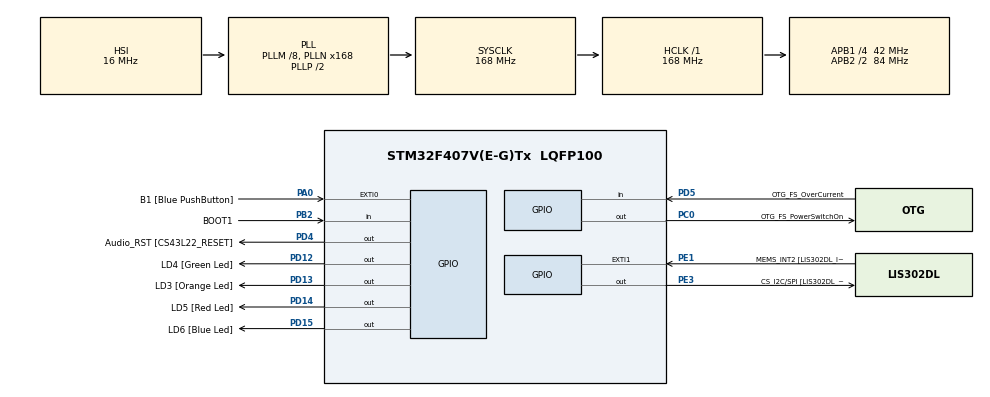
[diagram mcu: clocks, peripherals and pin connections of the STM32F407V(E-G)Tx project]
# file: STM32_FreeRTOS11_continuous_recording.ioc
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Mcu.Family=STM32F4
Mcu.Name=STM32F407V(E-G)Tx
Mcu.Package=LQFP100
NVIC.EXTI0_IRQn=true\:6\:0\:true\:false\:true\:true\:true\:true
NVIC.PriorityGroup=NVIC_PRIORITYGROUP_4
NVIC.TIM6_DAC_IRQn=true\:0\:0\:true\:false\:true\:false\:true\:true
NVIC.TimeBase=TIM6_DAC_IRQn
NVIC.TimeBaseIP=TIM6
PA0-WKUP.GPIO_Label=B1 [Blue PushButton]
PA0-WKUP.Signal=GPXTI0
PA10.GPIO_Label=OTG_FS_ID
PA10.GPIO_Mode=GPIO_MODE_AF_PP
PA10.GPIO_PuPd=GPIO_NOPULL
PA10.GPIO_Speed=GPIO_SPEED_FREQ_LOW
PA10.Signal=USB_OTG_FS_ID
PA11.GPIO_Label=OTG_FS_DM
PA11.GPIO_Mode=GPIO_MODE_AF_PP
PA11.GPIO_PuPd=GPIO_NOPULL
PA11.GPIO_Speed=GPIO_SPEED_FREQ_LOW
PA11.Signal=USB_OTG_FS_DM
PA12.GPIO_Label=OTG_FS_DP
PA12.GPIO_Mode=GPIO_MODE_AF_PP
PA12.GPIO_PuPd=GPIO_NOPULL
PA12.GPIO_Speed=GPIO_SPEED_FREQ_LOW
PA12.Signal=USB_OTG_FS_DP
PA13.GPIO_Label=SWDIO
PA13.Mode=Trace_Asynchronous_SW
PA13.Signal=SYS_JTMS-SWDIO
PA14.GPIO_Label=SWCLK
PA14.Mode=Trace_Asynchronous_SW
PA14.Signal=SYS_JTCK-SWCLK
PA4.GPIO_Label=I2S3_WS [CS43L22_LRCK]
PA4.GPIO_Mode=GPIO_MODE_AF_PP
PA4.GPIO_PuPd=GPIO_NOPULL
PA4.GPIO_Speed=GPIO_SPEED_FREQ_LOW
PA4.Signal=I2S3_WS
PA5.GPIO_Label=SPI1_SCK [LIS302DL_SCL/SPC]
PA5.GPIO_Mode=GPIO_MODE_AF_PP
PA5.GPIO_PuPd=GPIO_NOPULL
PA5.GPIO_Speed=GPIO_SPEED_FREQ_LOW
PA5.Signal=SPI1_SCK
PA6.GPIO_Label=SPI1_MISO [LIS302DL_SDO]
PA6.GPIO_Mode=GPIO_MODE_AF_PP
PA6.GPIO_PuPd=GPIO_NOPULL
PA6.GPIO_Speed=GPIO_SPEED_FREQ_LOW
PA6.Signal=SPI1_MISO
PA7.GPIO_Label=SPI1_MOSI [LIS302DL_SDA/SDI/SDO]
PA7.GPIO_Mode=GPIO_MODE_AF_PP
PA7.GPIO_PuPd=GPIO_NOPULL
PA7.GPIO_Speed=GPIO_SPEED_FREQ_LOW
PA7.Signal=SPI1_MOSI
PA9.GPIO_Label=VBUS_FS
PA9.GPIO_Mode=GPIO_MODE_INPUT
PA9.GPIO_PuPd=GPIO_NOPULL
PA9.Signal=USB_OTG_FS_VBUS
PB10.GPIO_Label=CLK_IN [MP45DT02_CLK]
PB10.GPIO_Mode=GPIO_MODE_AF_PP
PB10.GPIO_PuPd=GPIO_NOPULL
PB10.GPIO_Speed=GPIO_SPEED_FREQ_LOW
PB10.Signal=I2S2_CK
PB2.GPIO_Label=BOOT1
PB2.GPIO_Mode=GPIO_MODE_INPUT
PB2.GPIO_PuPd=GPIO_NOPULL
PB2.Signal=GPIO_Input
PB3.GPIO_Label=SWO
PB3.Mode=Trace_Asynchronous_SW
PB3.Signal=SYS_JTDO-SWO
PB6.GPIO_Label=Audio_SCL [CS43L22_SCL]
PB6.GPIO_Mode=GPIO_MODE_AF_OD
PB6.GPIO_PuPd=GPIO_NOPULL
PB6.GPIO_Speed=GPIO_SPEED_FREQ_LOW
PB6.Signal=I2C1_SCL
PB9.GPIO_Label=Audio_SDA [CS43L22_SDA]
PB9.GPIO_Mode=GPIO_MODE_AF_OD
PB9.GPIO_PuPd=GPIO_NOPULL
PB9.GPIO_Speed=GPIO_SPEED_FREQ_LOW
PB9.Signal=I2C1_SDA
PC0.GPIO_Label=OTG_FS_PowerSwitchOn
PC0.GPIO_PuPd=GPIO_NOPULL
PC0.GPIO_Speed=GPIO_SPEED_FREQ_LOW
PC0.PinState=GPIO_PIN_SET
PC0.Signal=GPIO_Output
PC10.GPIO_Label=I2S3_SCK [CS43L22_SCLK]
PC10.GPIO_Mode=GPIO_MODE_AF_PP
PC10.GPIO_PuPd=GPIO_NOPULL
PC10.GPIO_Speed=GPIO_SPEED_FREQ_LOW
PC10.Signal=I2S3_CK
PC12.GPIO_Label=I2S3_SD [CS43L22_SDIN]
PC12.GPIO_Mode=GPIO_MODE_AF_PP
PC12.GPIO_PuPd=GPIO_NOPULL
PC12.GPIO_Speed=GPIO_SPEED_FREQ_LOW
PC12.Signal=I2S3_SD
PC14-OSC32_IN.GPIO_Label=PC14-OSC32_IN
PC14-OSC32_IN.Signal=RCC_OSC32_IN
PC15-OSC32_OUT.GPIO_Label=PC15-OSC32_OUT
PC15-OSC32_OUT.Signal=RCC_OSC32_OUT
PC3.GPIO_Label=PDM_OUT [MP45DT02_DOUT]
PC3.GPIO_Mode=GPIO_MODE_AF_PP
PC3.GPIO_PuPd=GPIO_NOPULL
PC3.GPIO_Speed=GPIO_SPEED_FREQ_LOW
PC3.Signal=I2S2_SD
PC7.GPIO_Label=I2S3_MCK [CS43L22_MCLK]
PC7.GPIO_Mode=GPIO_MODE_AF_PP
PC7.GPIO_PuPd=GPIO_NOPULL
PC7.GPIO_Speed=GPIO_SPEED_FREQ_LOW
PC7.Signal=I2S3_MCK
PD12.GPIO_Label=LD4 [Green Led]
PD12.GPIO_PuPd=GPIO_NOPULL
PD12.GPIO_Speed=GPIO_SPEED_FREQ_LOW
PD12.Signal=GPIO_Output
PD13.GPIO_Label=LD3 [Orange Led]
PD13.GPIO_PuPd=GPIO_NOPULL
PD13.GPIO_Speed=GPIO_SPEED_FREQ_LOW
PD13.Signal=GPIO_Output
PD14.GPIO_Label=LD5 [Red Led]
PD14.GPIO_PuPd=GPIO_NOPULL
PD14.GPIO_Speed=GPIO_SPEED_FREQ_LOW
PD14.Signal=GPIO_Output
PD15.GPIO_Label=LD6 [Blue Led]
PD15.GPIO_PuPd=GPIO_NOPULL
PD15.GPIO_Speed=GPIO_SPEED_FREQ_LOW
PD15.Signal=GPIO_Output
PD4.GPIO_Label=Audio_RST [CS43L22_RESET]
PD4.GPIO_PuPd=GPIO_NOPULL
PD4.GPIO_Speed=GPIO_SPEED_FREQ_LOW
PD4.Signal=GPIO_Output
PD5.GPIO_Label=OTG_FS_OverCurrent
PD5.GPIO_Mode=GPIO_MODE_INPUT
PD5.GPIO_PuPd=GPIO_NOPULL
PD5.Signal=GPIO_Input
PE1.GPIO_Label=MEMS_INT2 [LIS302DL_INT2]
PE1.GPIO_ModeDefaultEXTI=GPIO_MODE_EVT_RISING
PE1.GPIO_PuPd=GPIO_NOPULL
PE1.Signal=GPXTI1
PE3.GPIO_Label=CS_I2C/SPI [LIS302DL_CS_I2C/SPI]
PE3.GPIO_PuPd=GPIO_NOPULL
PE3.GPIO_Speed=GPIO_SPEED_FREQ_LOW
PE3.Signal=GPIO_Output
PH0-OSC_IN.GPIO_Label=PH0-OSC_IN
PH0-OSC_IN.Signal=RCC_OSC_IN
PH1-OSC_OUT.GPIO_Label=PH1-OSC_OUT
PH1-OSC_OUT.Signal=RCC_OSC_OUT
ProjectManager.HeapSize=0x200
ProjectManager.StackSize=0x400
ProjectManager.TargetToolchain=STM32CubeIDE
RCC.48MHZClocksFreq_Value=48000000
RCC.AHBFreq_Value=168000000
RCC.APB1CLKDivider=RCC_HCLK_DIV4
RCC.APB1Freq_Value=42000000
RCC.APB1TimFreq_Value=84000000
RCC.APB2CLKDivider=RCC_HCLK_DIV2
RCC.APB2Freq_Value=84000000
RCC.APB2TimFreq_Value=168000000
RCC.CortexFreq_Value=168000000
RCC.HCLKFreq_Value=168000000
RCC.HSE_VALUE=8000000
RCC.HSI_VALUE=16000000
RCC.LSE_VALUE=32768
RCC.PLLM=8
RCC.PLLN=168
RCC.PLLQ=7
RCC.SYSCLKFreq_VALUE=168000000
RCC.SYSCLKSource=RCC_SYSCLKSOURCE_PLLCLK
RCC.VCOOutputFreq_Value=336000000
VP_SYS_VS_tim6.Mode=TIM6
board=STM32F407G-DISC1

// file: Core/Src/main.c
/* USER CODE BEGIN Header */
/**
 ******************************************************************************
 * @file           : main.c
 * @brief          : Main program body
 ******************************************************************************
 * @attention
 *
 * <h2><center>&copy; Copyright (c) 2021 STMicroelectronics.
 * All rights reserved.</center></h2>
 *
 * This software component is licensed by ST under BSD 3-Clause license,
 * the "License"; You may not use this file except in compliance with the
 * License. You may obtain a copy of the License at:
 *                        opensource.org/licenses/BSD-3-Clause
 *
 ******************************************************************************
 */
/* USER CODE END Header */
#include "main.h"

/* USER CODE BEGIN Includes */
#include <stdio.h>
#include "FreeRTOS.h"
#include "task.h"

/* USER CODE END Includes */

/* USER CODE BEGIN PV */

#define DWT_CTRL    (*(volatile uint32_t*)0xE0001000)

volatile BaseType_t status_button = 0;

/* USER CODE END PV */

void SystemClock_Config(void);
static void MX_GPIO_Init(void);
/* USER CODE BEGIN PFP */

//task handlers
static void led_green_handler(void *parameters);
static void led_orange_handler(void *parameters);

extern void SEGGER_UART_init(uint32_t);
/* USER CODE END PFP */

/* USER CODE BEGIN 0 */
TaskHandle_t led_green_handle;
TaskHandle_t led_orange_handle;
TaskHandle_t button_handle;

TaskHandle_t volatile next_task_handle = NULL;

/* USER CODE END 0 */

int main(void) {

  /* USER CODE BEGIN 1 */

  BaseType_t status;

  /* USER CODE END 1 */

  /* MCU Configuration--------------------------------------------------------*/

  /* Reset of all peripherals, Initializes the Flash interface and the Systick. */
  HAL_Init();

  /* Configure the system clock */
  SystemClock_Config();

  /* Initialize all configured peripherals */
  MX_GPIO_Init();
  /* USER CODE BEGIN 2 */

  //Enable the CYCCNT counter.
  DWT_CTRL |= (1 << 0);

  SEGGER_UART_init(500000);

  SEGGER_SYSVIEW_Conf();

  // SEGGER_SYSVIEW_Start();

  status = xTaskCreate(led_green_handler, "Task-1", 200, NULL, 2,
      &led_green_handle);

  configASSERT(status == pdPASS);

  next_task_handle = led_green_handle;

  status = xTaskCreate(led_orange_handler, "Task-2", 200, NULL, 3,
      &led_orange_handle);

  configASSERT(status == pdPASS);

  //start the freeRTOS scheduler
  vTaskStartScheduler();

  //if the control comes here, then the launch of the scheduler has failed due to
  //insufficient memory in heap

  /* USER CODE END 2 */

  /* Infinite loop */
  while (1) {

  }
}

void SystemClock_Config(void) {
  RCC_OscInitTypeDef RCC_OscInitStruct = { 0 };
  RCC_ClkInitTypeDef RCC_ClkInitStruct = { 0 };

  /** Configure the main internal regulator output voltage
   */
  __HAL_RCC_PWR_CLK_ENABLE();
  __HAL_PWR_VOLTAGESCALING_CONFIG(PWR_REGULATOR_VOLTAGE_SCALE1);

  /** Initializes the RCC Oscillators according to the specified parameters
   * in the RCC_OscInitTypeDef structure.
   */
  RCC_OscInitStruct.OscillatorType = RCC_OSCILLATORTYPE_HSI;
  RCC_OscInitStruct.HSIState = RCC_HSI_ON;
  RCC_OscInitStruct.HSICalibrationValue = RCC_HSICALIBRATION_DEFAULT;
  RCC_OscInitStruct.PLL.PLLState = RCC_PLL_ON;
  RCC_OscInitStruct.PLL.PLLSource = RCC_PLLSOURCE_HSI;
  RCC_OscInitStruct.PLL.PLLM = 8;
  RCC_OscInitStruct.PLL.PLLN = 168;
  RCC_OscInitStruct.PLL.PLLP = RCC_PLLP_DIV2;
  RCC_OscInitStruct.PLL.PLLQ = 7;
  if (HAL_RCC_OscConfig(&RCC_OscInitStruct) != HAL_OK) {
    Error_Handler();
  }

  /** Initializes the CPU, AHB and APB buses clocks
   */
  RCC_ClkInitStruct.ClockType = RCC_CLOCKTYPE_HCLK | RCC_CLOCKTYPE_SYSCLK
      | RCC_CLOCKTYPE_PCLK1 | RCC_CLOCKTYPE_PCLK2;
  RCC_ClkInitStruct.SYSCLKSource = RCC_SYSCLKSOURCE_PLLCLK;
  RCC_ClkInitStruct.AHBCLKDivider = RCC_SYSCLK_DIV1;
  RCC_ClkInitStruct.APB1CLKDivider = RCC_HCLK_DIV4;
  RCC_ClkInitStruct.APB2CLKDivider = RCC_HCLK_DIV2;

  if (HAL_RCC_ClockConfig(&RCC_ClkInitStruct, FLASH_LATENCY_5) != HAL_OK) {
    Error_Handler();
  }
}

static void MX_GPIO_Init(void) {
  GPIO_InitTypeDef GPIO_InitStruct = { 0 };

  /* GPIO Ports Clock Enable */
  __HAL_RCC_GPIOE_CLK_ENABLE();
  __HAL_RCC_GPIOC_CLK_ENABLE();
  __HAL_RCC_GPIOH_CLK_ENABLE();
  __HAL_RCC_GPIOA_CLK_ENABLE();
  __HAL_RCC_GPIOB_CLK_ENABLE();
  __HAL_RCC_GPIOD_CLK_ENABLE();

  /*Configure GPIO pin Output Level */
  HAL_GPIO_WritePin(CS_I2C_SPI_GPIO_Port, CS_I2C_SPI_Pin, GPIO_PIN_RESET);

  /*Configure GPIO pin Output Level */
  HAL_GPIO_WritePin(OTG_FS_PowerSwitchOn_GPIO_Port, OTG_FS_PowerSwitchOn_Pin,
      GPIO_PIN_SET);

  /*Configure GPIO pin Output Level */
  HAL_GPIO_WritePin(GPIOD,
  LD4_Pin | LD3_Pin | LD5_Pin | LD6_Pin | Audio_RST_Pin, GPIO_PIN_RESET);

  /*Configure GPIO pin : CS_I2C_SPI_Pin */
  GPIO_InitStruct.Pin = CS_I2C_SPI_Pin;
  GPIO_InitStruct.Mode = GPIO_MODE_OUTPUT_PP;
  GPIO_InitStruct.Pull = GPIO_NOPULL;
  GPIO_InitStruct.Speed = GPIO_SPEED_FREQ_LOW;
  HAL_GPIO_Init(CS_I2C_SPI_GPIO_Port, &GPIO_InitStruct);

  /*Configure GPIO pin : OTG_FS_PowerSwitchOn_Pin */
  GPIO_InitStruct.Pin = OTG_FS_PowerSwitchOn_Pin;
  GPIO_InitStruct.Mode = GPIO_MODE_OUTPUT_PP;
  GPIO_InitStruct.Pull = GPIO_NOPULL;
  GPIO_InitStruct.Speed = GPIO_SPEED_FREQ_LOW;
  HAL_GPIO_Init(OTG_FS_PowerSwitchOn_GPIO_Port, &GPIO_InitStruct);

  /*Configure GPIO pin : PDM_OUT_Pin */
  GPIO_InitStruct.Pin = PDM_OUT_Pin;
  GPIO_InitStruct.Mode = GPIO_MODE_AF_PP;
  GPIO_InitStruct.Pull = GPIO_NOPULL;
  GPIO_InitStruct.Speed = GPIO_SPEED_FREQ_LOW;
  GPIO_InitStruct.Alternate = GPIO_AF5_SPI2;
  HAL_GPIO_Init(PDM_OUT_GPIO_Port, &GPIO_InitStruct);

  /*Configure GPIO pin : B1_Pin */
  GPIO_InitStruct.Pin = B1_Pin;
  GPIO_InitStruct.Mode = GPIO_MODE_IT_RISING;
  GPIO_InitStruct.Pull = GPIO_NOPULL;
  HAL_GPIO_Init(B1_GPIO_Port, &GPIO_InitStruct);

  /*Configure GPIO pin : I2S3_WS_Pin */
  GPIO_InitStruct.Pin = I2S3_WS_Pin;
  GPIO_InitStruct.Mode = GPIO_MODE_AF_PP;
  GPIO_InitStruct.Pull = GPIO_NOPULL;
  GPIO_InitStruct.Speed = GPIO_SPEED_FREQ_LOW;
  GPIO_InitStruct.Alternate = GPIO_AF6_SPI3;
  HAL_GPIO_Init(I2S3_WS_GPIO_Port, &GPIO_InitStruct);

  /*Configure GPIO pins : SPI1_SCK_Pin SPI1_MISO_Pin SPI1_MOSI_Pin */
  GPIO_InitStruct.Pin = SPI1_SCK_Pin | SPI1_MISO_Pin | SPI1_MOSI_Pin;
  GPIO_InitStruct.Mode = GPIO_MODE_AF_PP;
  GPIO_InitStruct.Pull = GPIO_NOPULL;
  GPIO_InitStruct.Speed = GPIO_SPEED_FREQ_LOW;
  GPIO_InitStruct.Alternate = GPIO_AF5_SPI1;
  HAL_GPIO_Init(GPIOA, &GPIO_InitStruct);

  /*Configure GPIO pin : BOOT1_Pin */
  GPIO_InitStruct.Pin = BOOT1_Pin;
  GPIO_InitStruct.Mode = GPIO_MODE_INPUT;
  GPIO_InitStruct.Pull = GPIO_NOPULL;
  HAL_GPIO_Init(BOOT1_GPIO_Port, &GPIO_InitStruct);

  /*Configure GPIO pin : CLK_IN_Pin */
  GPIO_InitStruct.Pin = CLK_IN_Pin;
  GPIO_InitStruct.Mode = GPIO_MODE_AF_PP;
  GPIO_InitStruct.Pull = GPIO_NOPULL;
  GPIO_InitStruct.Speed = GPIO_SPEED_FREQ_LOW;
  GPIO_InitStruct.Alternate = GPIO_AF5_SPI2;
  HAL_GPIO_Init(CLK_IN_GPIO_Port, &GPIO_InitStruct);

  /*Configure GPIO pins : LD4_Pin LD3_Pin LD5_Pin LD6_Pin
   Audio_RST_Pin */
  GPIO_InitStruct.Pin = LD4_Pin | LD3_Pin | LD5_Pin | LD6_Pin | Audio_RST_Pin;
  GPIO_InitStruct.Mode = GPIO_MODE_OUTPUT_PP;
  GPIO_InitStruct.Pull = GPIO_NOPULL;
  GPIO_InitStruct.Speed = GPIO_SPEED_FREQ_LOW;
  HAL_GPIO_Init(GPIOD, &GPIO_InitStruct);

  /*Configure GPIO pins : I2S3_MCK_Pin I2S3_SCK_Pin I2S3_SD_Pin */
  GPIO_InitStruct.Pin = I2S3_MCK_Pin | I2S3_SCK_Pin | I2S3_SD_Pin;
  GPIO_InitStruct.Mode = GPIO_MODE_AF_PP;
  GPIO_InitStruct.Pull = GPIO_NOPULL;
  GPIO_InitStruct.Speed = GPIO_SPEED_FREQ_LOW;
  GPIO_InitStruct.Alternate = GPIO_AF6_SPI3;
  HAL_GPIO_Init(GPIOC, &GPIO_InitStruct);

  /*Configure GPIO pin : VBUS_FS_Pin */
  GPIO_InitStruct.Pin = VBUS_FS_Pin;
  GPIO_InitStruct.Mode = GPIO_MODE_INPUT;
  GPIO_InitStruct.Pull = GPIO_NOPULL;
  HAL_GPIO_Init(VBUS_FS_GPIO_Port, &GPIO_InitStruct);

  /*Configure GPIO pins : OTG_FS_ID_Pin OTG_FS_DM_Pin OTG_FS_DP_Pin */
  GPIO_InitStruct.Pin = OTG_FS_ID_Pin | OTG_FS_DM_Pin | OTG_FS_DP_Pin;
  GPIO_InitStruct.Mode = GPIO_MODE_AF_PP;
  GPIO_InitStruct.Pull = GPIO_NOPULL;
  GPIO_InitStruct.Speed = GPIO_SPEED_FREQ_LOW;
  GPIO_InitStruct.Alternate = GPIO_AF10_OTG_FS;
  HAL_GPIO_Init(GPIOA, &GPIO_InitStruct);

  /*Configure GPIO pin : OTG_FS_OverCurrent_Pin */
  GPIO_InitStruct.Pin = OTG_FS_OverCurrent_Pin;
  GPIO_InitStruct.Mode = GPIO_MODE_INPUT;
  GPIO_InitStruct.Pull = GPIO_NOPULL;
  HAL_GPIO_Init(OTG_FS_OverCurrent_GPIO_Port, &GPIO_InitStruct);

  /*Configure GPIO pins : Audio_SCL_Pin Audio_SDA_Pin */
  GPIO_InitStruct.Pin = Audio_SCL_Pin | Audio_SDA_Pin;
  GPIO_InitStruct.Mode = GPIO_MODE_AF_OD;
  GPIO_InitStruct.Pull = GPIO_NOPULL;
  GPIO_InitStruct.Speed = GPIO_SPEED_FREQ_LOW;
  GPIO_InitStruct.Alternate = GPIO_AF4_I2C1;
  HAL_GPIO_Init(GPIOB, &GPIO_InitStruct);

  /*Configure GPIO pin : MEMS_INT2_Pin */
  GPIO_InitStruct.Pin = MEMS_INT2_Pin;
  GPIO_InitStruct.Mode = GPIO_MODE_EVT_RISING;
  GPIO_InitStruct.Pull = GPIO_NOPULL;
  HAL_GPIO_Init(MEMS_INT2_GPIO_Port, &GPIO_InitStruct);

  /* EXTI interrupt init*/
  HAL_NVIC_SetPriority(EXTI0_IRQn, 6, 0);
  HAL_NVIC_EnableIRQ(EXTI0_IRQn);

}

/* USER CODE BEGIN 4 */
void switch_priority() {
  UBaseType_t p1, p2;
  xTaskHandle t1, t2;

  BaseType_t switch_priority = 0;
  portENTER_CRITICAL();
  if (status_button) {
    status_button = 0;
    switch_priority = 1;
  }
  portEXIT_CRITICAL();

  if (switch_priority) {
    t1 = xTaskGetHandle("Task-1");
    t2 = xTaskGetHandle("Task-2");

    p1 = uxTaskPriorityGet(t1);
    p2 = uxTaskPriorityGet(t2);

    vTaskPrioritySet(t1, p2);
    vTaskPrioritySet(t2, p1);
  }
}
void button_interrupt_handler(void) {
  traceISR_ENTER();
  status_button = 1;
  traceISR_EXIT();
}

static void led_green_handler(void *parameters) {
  while (1) {
    HAL_GPIO_TogglePin(GPIOD, GPIO_PIN_12);
    HAL_Delay(100);
    switch_priority();
}

}

static void led_orange_handler(void *parameters) {
  while (1) {
    HAL_GPIO_TogglePin(GPIOD, GPIO_PIN_13);
    HAL_Delay(1000);
    switch_priority();
  }

 }

  /* USER CODE END 4 */

  /**
   * @brief  Period elapsed callback in non blocking mode
   * @note   This function is called  when TIM6 interrupt took place, inside
   * HAL_TIM_IRQHandler(). It makes a direct call to HAL_IncTick() to increment
   * a global variable "uwTick" used as application time base.
   * @param  htim : TIM handle
   * @retval None
   */
  void HAL_TIM_PeriodElapsedCallback(TIM_HandleTypeDef *htim) {
    if (htim->Instance == TIM6) {
      HAL_IncTick();
    }
  }

  /**
   * @brief  This function is executed in case of error occurrence.
   * @retval None
   */
  void Error_Handler(void) {
  }
